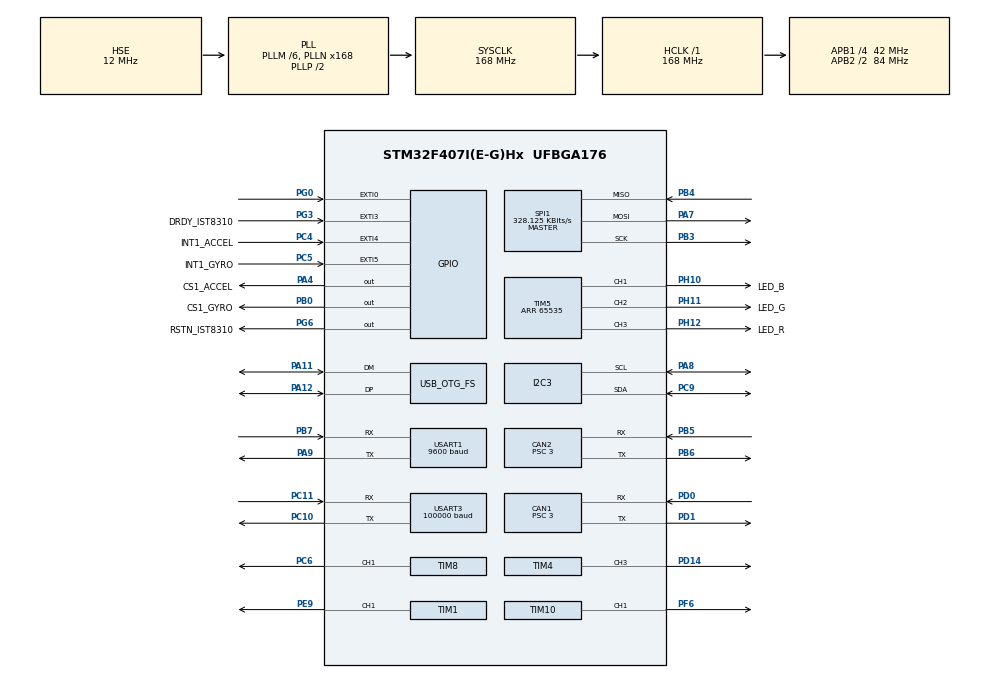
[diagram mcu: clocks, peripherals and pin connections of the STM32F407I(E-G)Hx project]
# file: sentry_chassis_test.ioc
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CAN1.BS1=CAN_BS1_10TQ
CAN1.BS2=CAN_BS2_3TQ
CAN1.CalculateBaudRate=1000000
CAN1.CalculateTimeBit=1000
CAN1.CalculateTimeQuantum=71.42857142857143
CAN1.Prescaler=3
CAN2.BS1=CAN_BS1_10TQ
CAN2.BS2=CAN_BS2_3TQ
CAN2.CalculateBaudRate=1000000
CAN2.CalculateTimeBit=1000
CAN2.CalculateTimeQuantum=71.42857142857143
CAN2.Prescaler=3
Dma.Request0=SPI1_RX
Dma.Request1=SPI1_TX
Dma.Request2=USART3_RX
Dma.SPI1_RX.0.Direction=DMA_PERIPH_TO_MEMORY
Dma.SPI1_RX.0.FIFOMode=DMA_FIFOMODE_DISABLE
Dma.SPI1_RX.0.Instance=DMA2_Stream0
Dma.SPI1_RX.0.MemDataAlignment=DMA_MDATAALIGN_BYTE
Dma.SPI1_RX.0.MemInc=DMA_MINC_ENABLE
Dma.SPI1_RX.0.Mode=DMA_NORMAL
Dma.SPI1_RX.0.PeriphDataAlignment=DMA_PDATAALIGN_BYTE
Dma.SPI1_RX.0.PeriphInc=DMA_PINC_DISABLE
Dma.SPI1_RX.0.Priority=DMA_PRIORITY_VERY_HIGH
Dma.SPI1_TX.1.Direction=DMA_MEMORY_TO_PERIPH
Dma.SPI1_TX.1.FIFOMode=DMA_FIFOMODE_DISABLE
Dma.SPI1_TX.1.Instance=DMA2_Stream3
Dma.SPI1_TX.1.MemDataAlignment=DMA_MDATAALIGN_BYTE
Dma.SPI1_TX.1.MemInc=DMA_MINC_ENABLE
Dma.SPI1_TX.1.Mode=DMA_NORMAL
Dma.SPI1_TX.1.PeriphDataAlignment=DMA_PDATAALIGN_BYTE
Dma.SPI1_TX.1.PeriphInc=DMA_PINC_DISABLE
Dma.SPI1_TX.1.Priority=DMA_PRIORITY_HIGH
Dma.USART3_RX.2.Direction=DMA_PERIPH_TO_MEMORY
Dma.USART3_RX.2.FIFOMode=DMA_FIFOMODE_DISABLE
Dma.USART3_RX.2.Instance=DMA1_Stream1
Dma.USART3_RX.2.MemDataAlignment=DMA_MDATAALIGN_BYTE
Dma.USART3_RX.2.MemInc=DMA_MINC_ENABLE
Dma.USART3_RX.2.Mode=DMA_NORMAL
Dma.USART3_RX.2.PeriphDataAlignment=DMA_PDATAALIGN_BYTE
Dma.USART3_RX.2.PeriphInc=DMA_PINC_DISABLE
Dma.USART3_RX.2.Priority=DMA_PRIORITY_HIGH
FREERTOS.INCLUDE_eTaskGetState=1
FREERTOS.INCLUDE_uxTaskGetStackHighWaterMark=1
FREERTOS.INCLUDE_vTaskDelayUntil=1
FREERTOS.INCLUDE_xQueueGetMutexHolder=1
FREERTOS.Tasks01=test,0,128,test_task,Default,NULL,Dynamic,NULL,NULL
FREERTOS.configTOTAL_HEAP_SIZE=24576
FREERTOS.configUSE_TIMERS=1
I2C3.I2C_Mode=I2C_Fast
Mcu.Family=STM32F4
Mcu.Name=STM32F407I(E-G)Hx
Mcu.Package=UFBGA176
NVIC.CAN1_RX0_IRQn=true\:5\:0\:false\:false\:true\:true\:true\:true\:true
NVIC.CAN1_RX1_IRQn=true\:5\:0\:false\:false\:true\:true\:true\:true\:true
NVIC.CAN1_TX_IRQn=true\:5\:0\:false\:false\:true\:true\:true\:true\:true
NVIC.CAN2_RX0_IRQn=true\:5\:0\:false\:false\:true\:true\:true\:true\:true
NVIC.CAN2_RX1_IRQn=true\:5\:0\:false\:false\:true\:true\:true\:true\:true
NVIC.CAN2_TX_IRQn=true\:5\:0\:false\:false\:true\:true\:true\:true\:true
NVIC.DMA1_Stream1_IRQn=true\:5\:0\:false\:false\:true\:true\:false\:true\:true
NVIC.DMA2_Stream0_IRQn=true\:5\:0\:false\:false\:true\:true\:false\:true\:true
NVIC.DMA2_Stream3_IRQn=true\:5\:0\:false\:false\:true\:true\:false\:true\:true
NVIC.OTG_FS_IRQn=true\:5\:0\:false\:false\:true\:true\:true\:true\:true
NVIC.PriorityGroup=NVIC_PRIORITYGROUP_4
NVIC.RCC_IRQn=true\:5\:0\:false\:false\:true\:true\:true\:false\:true
NVIC.USART1_IRQn=true\:5\:0\:false\:false\:true\:true\:true\:true\:true
NVIC.USART3_IRQn=true\:5\:0\:false\:false\:true\:true\:true\:true\:true
PA10.Signal=USB_OTG_FS_ID
PA11.Mode=Device_Only
PA11.Signal=USB_OTG_FS_DM
PA12.Mode=Device_Only
PA12.Signal=USB_OTG_FS_DP
PA13.Mode=Serial_Wire
PA13.Signal=SYS_JTMS-SWDIO
PA14.Mode=Serial_Wire
PA14.Signal=SYS_JTCK-SWCLK
PA4.GPIO_Label=CS1_ACCEL
PA4.GPIO_PuPd=GPIO_PULLUP
PA4.GPIO_Speed=GPIO_SPEED_FREQ_HIGH
PA4.PinState=GPIO_PIN_SET
PA4.Signal=GPIO_Output
PA7.GPIO_PuPd=GPIO_PULLUP
PA7.Mode=Full_Duplex_Master
PA7.Signal=SPI1_MOSI
PA8.GPIO_Pu=GPIO_PULLUP
PA8.Mode=I2C
PA8.Signal=I2C3_SCL
PA9.Mode=Asynchronous
PA9.Signal=USART1_TX
PB0.GPIO_Label=CS1_GYRO
PB0.GPIO_PuPd=GPIO_PULLUP
PB0.GPIO_Speed=GPIO_SPEED_FREQ_HIGH
PB0.Signal=GPIO_Output
PB3.GPIO_PuPd=GPIO_PULLUP
PB3.Mode=Full_Duplex_Master
PB3.Signal=SPI1_SCK
PB4.GPIO_PuPd=GPIO_PULLUP
PB4.Mode=Full_Duplex_Master
PB4.Signal=SPI1_MISO
PB5.GPIO_PuPd=GPIO_NOPULL
PB5.Mode=CAN_Activate
PB5.Signal=CAN2_RX
PB6.GPIO_PuPd=GPIO_NOPULL
PB6.Mode=CAN_Activate
PB6.Signal=CAN2_TX
PB7.Mode=Asynchronous
PB7.Signal=USART1_RX
PC10.Mode=Asynchronous
PC10.Signal=USART3_TX
PC11.Mode=Asynchronous
PC11.Signal=USART3_RX
PC4.GPIO_Label=INT1_ACCEL
PC4.GPIO_PuPd=GPIO_PULLUP
PC4.Signal=GPXTI4
PC5.GPIO_Label=INT1_GYRO
PC5.GPIO_PuPd=GPIO_PULLUP
PC5.Signal=GPXTI5
PC6.Signal=S_TIM8_CH1
PC9.GPIO_Pu=GPIO_PULLUP
PC9.Mode=I2C
PC9.Signal=I2C3_SDA
PD0.GPIO_PuPd=GPIO_NOPULL
PD0.Mode=CAN_Activate
PD0.Signal=CAN1_RX
PD1.GPIO_PuPd=GPIO_NOPULL
PD1.Mode=CAN_Activate
PD1.Signal=CAN1_TX
PD14.Signal=S_TIM4_CH3
PE9.Signal=S_TIM1_CH1
PF6.GPIO_PuPd=GPIO_PULLUP
PF6.GPIO_Speed=GPIO_SPEED_FREQ_HIGH
PF6.Signal=S_TIM10_CH1
PG0.GPIO_PuPd=GPIO_PULLUP
PG0.Signal=GPXTI0
PG3.GPIO_Label=DRDY_IST8310
PG3.GPIO_PuPd=GPIO_PULLUP
PG3.Signal=GPXTI3
PG6.GPIO_Label=RSTN_IST8310
PG6.GPIO_PuPd=GPIO_PULLUP
PG6.GPIO_Speed=GPIO_SPEED_FREQ_MEDIUM
PG6.PinState=GPIO_PIN_SET
PG6.Signal=GPIO_Output
PH0-OSC_IN.Mode=HSE-External-Oscillator
PH0-OSC_IN.Signal=RCC_OSC_IN
PH1-OSC_OUT.Mode=HSE-External-Oscillator
PH1-OSC_OUT.Signal=RCC_OSC_OUT
PH10.GPIO_Label=LED_B
PH10.GPIO_PuPd=GPIO_PULLUP
PH10.GPIO_Speed=GPIO_SPEED_FREQ_HIGH
PH10.Signal=S_TIM5_CH1
PH11.GPIO_Label=LED_G
PH11.GPIO_PuPd=GPIO_PULLUP
PH11.GPIO_Speed=GPIO_SPEED_FREQ_HIGH
PH11.Signal=S_TIM5_CH2
PH12.GPIO_Label=LED_R
PH12.GPIO_PuPd=GPIO_PULLUP
PH12.GPIO_Speed=GPIO_SPEED_FREQ_HIGH
PH12.Signal=S_TIM5_CH3
ProjectManager.HeapSize=0x2000
ProjectManager.StackSize=0x2000
ProjectManager.TargetToolchain=MDK-ARM V5
RCC.48MHZClocksFreq_Value=48000000
RCC.AHBFreq_Value=168000000
RCC.APB1CLKDivider=RCC_HCLK_DIV4
RCC.APB1Freq_Value=42000000
RCC.APB1TimFreq_Value=84000000
RCC.APB2CLKDivider=RCC_HCLK_DIV2
RCC.APB2Freq_Value=84000000
RCC.APB2TimFreq_Value=168000000
RCC.CortexFreq_Value=168000000
RCC.HCLKFreq_Value=168000000
RCC.HSE_VALUE=12000000
RCC.HSI_VALUE=16000000
RCC.LSE_VALUE=32768
RCC.PLLM=6
RCC.PLLN=168
RCC.PLLQ=7
RCC.PLLSourceVirtual=RCC_PLLSOURCE_HSE
RCC.SYSCLKFreq_VALUE=168000000
RCC.SYSCLKSource=RCC_SYSCLKSOURCE_PLLCLK
RCC.VCOOutputFreq_Value=336000000
SH.S_TIM10_CH1.0=TIM10_CH1,PWM Generation1 CH1
SH.S_TIM1_CH1.0=TIM1_CH1,PWM Generation1 CH1
SH.S_TIM4_CH3.0=TIM4_CH3,PWM Generation3 CH3
SH.S_TIM5_CH1.0=TIM5_CH1,PWM Generation1 CH1
SH.S_TIM5_CH2.0=TIM5_CH2,PWM Generation2 CH2
SH.S_TIM5_CH3.0=TIM5_CH3,PWM Generation3 CH3
SH.S_TIM8_CH1.0=TIM8_CH1,PWM Generation1 CH1
SPI1.BaudRatePrescaler=SPI_BAUDRATEPRESCALER_256
SPI1.CLKPhase=SPI_PHASE_2EDGE
SPI1.CLKPolarity=SPI_POLARITY_HIGH
SPI1.CalculateBaudRate=328.125 KBits/s
SPI1.Direction=SPI_DIRECTION_2LINES
SPI1.Mode=SPI_MODE_MASTER
SPI1.VirtualType=VM_MASTER
STMicroelectronics.X-CUBE-ALGOBUILD.1.3.0.LibraryCcDSPOoLibraryJjDSPOoLibrary=true
TIM1.Channel-PWM\ Generation1\ CH1=TIM_CHANNEL_1
TIM1.Period=10000-1
TIM1.Prescaler=16800-1
TIM10.Channel=TIM_CHANNEL_1
TIM10.Period=4999
TIM2.Prescaler=83
TIM4.Channel-PWM\ Generation3\ CH3=TIM_CHANNEL_3
TIM4.Period=20999
TIM5.Channel-PWM\ Generation1\ CH1=TIM_CHANNEL_1
TIM5.Channel-PWM\ Generation2\ CH2=TIM_CHANNEL_2
TIM5.Channel-PWM\ Generation3\ CH3=TIM_CHANNEL_3
TIM5.Period=65535
TIM8.Channel-PWM\ Generation1\ CH1=TIM_CHANNEL_1
TIM8.Period=1000-1
TIM8.Prescaler=16800-1
USART1.BaudRate=9600
USART1.VirtualMode=VM_ASYNC
USART3.BaudRate=100000
USART3.VirtualMode=VM_ASYNC
USB_OTG_FS.VirtualMode=Device_Only
VP_FREERTOS_VS_CMSIS_V1.Mode=CMSIS_V1
VP_STMicroelectronics.X-CUBE-ALGOBUILD_VS_DSPOoLibraryJjLibrary_1.3.0_1.3.0.Mode=DSPOoLibraryJjLibrary
VP_TIM10_VS_ClockSourceINT.Mode=Enable_Timer
VP_TIM1_VS_ClockSourceINT.Mode=Internal
VP_TIM2_VS_ClockSourceINT.Mode=Internal
VP_TIM4_VS_ClockSourceINT.Mode=Internal
VP_TIM5_VS_ClockSourceINT.Mode=Internal
VP_TIM8_VS_ClockSourceINT.Mode=Internal
board=custom

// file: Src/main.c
/* USER CODE BEGIN Header */
/**
  ******************************************************************************
  * @file           : main.c
  * @brief          : Main program body
  ******************************************************************************
  * @attention
  *
  * Copyright (c) 2024 STMicroelectronics.
  * All rights reserved.
  *
  * This software is licensed under terms that can be found in the LICENSE file
  * in the root directory of this software component.
  * If no LICENSE file comes with this software, it is provided AS-IS.
  *
  ******************************************************************************
  */
/* USER CODE END Header */
#include "main.h"

void SystemClock_Config(void);
void MX_FREERTOS_Init(void);

/* USER CODE BEGIN 0 */
void Robot_Init(void)
{
  // imu init
  while (BMI088_init(&hspi1, Offline_Use) != BMI088_NO_ERROR)
  {
  }
  remote_control_init();
  initRemoteControl(DJI_REMOTE_CONTROL);

  Motor_Config_Init();
}

void Bsp_Init(void)
{
	/* MCU Configuration--------------------------------------------------------*/

  /* Reset of all peripherals, Initializes the Flash interface and the Systick. */
  HAL_Init();

  /* USER CODE BEGIN Init */

  /* USER CODE END Init */

  /* Configure the system clock */
  SystemClock_Config();

  /* USER CODE BEGIN SysInit */

  /* USER CODE END SysInit */

  /* Initialize all configured peripherals */
  MX_GPIO_Init();
  MX_DMA_Init();
	MX_SPI1_Init();
	MX_TIM5_Init();
	MX_I2C3_Init();
  MX_CAN1_Init();
  MX_TIM2_Init();
  MX_TIM10_Init();
  MX_CAN2_Init();
  MX_USART3_UART_Init();
	MX_TIM1_Init();
  MX_TIM8_Init();
  MX_USART1_UART_Init();

  MX_USB_DEVICE_Init();
	DWT_Init(168);

	can_filter_init();

  MX_TIM4_Init();
	//�?启定时器
    HAL_TIM_Base_Start(&htim4);
	//�?启PWM通道
   HAL_TIM_PWM_Start(&htim4, TIM_CHANNEL_3);
	 HAL_TIM_PWM_Start(&htim1, TIM_CHANNEL_1);
	 HAL_TIM_PWM_Start(&htim8, TIM_CHANNEL_1);
	 __HAL_TIM_SetCompare(&htim1, TIM_CHANNEL_1, 10000/2);
	 __HAL_TIM_SetCompare(&htim8, TIM_CHANNEL_1, 1000/2);

}
/* USER CODE END 0 */

int main(void)
{

  /* USER CODE BEGIN 1 */
	Bsp_Init();
  Robot_Init();
  /* USER CODE END 1 */

  /* MCU Configuration--------------------------------------------------------*/

  /* Reset of all peripherals, Initializes the Flash interface and the Systick. */
  HAL_Init();

  /* Configure the system clock */
  SystemClock_Config();

  /* Call init function for freertos objects (in cmsis_os2.c) */
  MX_FREERTOS_Init();

  /* Start scheduler */
  osKernelStart();

  /* We should never get here as control is now taken by the scheduler */

  /* Infinite loop */
  while (1)
  {

  }
}

void SystemClock_Config(void)
{
  RCC_OscInitTypeDef RCC_OscInitStruct = {0};
  RCC_ClkInitTypeDef RCC_ClkInitStruct = {0};

  /** Configure the main internal regulator output voltage
  */
  __HAL_RCC_PWR_CLK_ENABLE();
  __HAL_PWR_VOLTAGESCALING_CONFIG(PWR_REGULATOR_VOLTAGE_SCALE1);

  /** Initializes the RCC Oscillators according to the specified parameters
  * in the RCC_OscInitTypeDef structure.
  */
  RCC_OscInitStruct.OscillatorType = RCC_OSCILLATORTYPE_HSE;
  RCC_OscInitStruct.HSEState = RCC_HSE_ON;
  RCC_OscInitStruct.PLL.PLLState = RCC_PLL_ON;
  RCC_OscInitStruct.PLL.PLLSource = RCC_PLLSOURCE_HSE;
  RCC_OscInitStruct.PLL.PLLM = 6;
  RCC_OscInitStruct.PLL.PLLN = 168;
  RCC_OscInitStruct.PLL.PLLP = RCC_PLLP_DIV2;
  RCC_OscInitStruct.PLL.PLLQ = 7;
  if (HAL_RCC_OscConfig(&RCC_OscInitStruct) != HAL_OK)
  {
    Error_Handler();
  }

  /** Initializes the CPU, AHB and APB buses clocks
  */
  RCC_ClkInitStruct.ClockType = RCC_CLOCKTYPE_HCLK|RCC_CLOCKTYPE_SYSCLK
                              |RCC_CLOCKTYPE_PCLK1|RCC_CLOCKTYPE_PCLK2;
  RCC_ClkInitStruct.SYSCLKSource = RCC_SYSCLKSOURCE_PLLCLK;
  RCC_ClkInitStruct.AHBCLKDivider = RCC_SYSCLK_DIV1;
  RCC_ClkInitStruct.APB1CLKDivider = RCC_HCLK_DIV4;
  RCC_ClkInitStruct.APB2CLKDivider = RCC_HCLK_DIV2;

  if (HAL_RCC_ClockConfig(&RCC_ClkInitStruct, FLASH_LATENCY_5) != HAL_OK)
  {
    Error_Handler();
  }
}

void Error_Handler(void)
{
  __disable_irq();
  while (1)
  {
  }
}

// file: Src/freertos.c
/* USER CODE BEGIN Header */
/**
  ******************************************************************************
  * File Name          : freertos.c
  * Description        : Code for freertos applications
  ******************************************************************************
  * @attention
  *
  * Copyright (c) 2024 STMicroelectronics.
  * All rights reserved.
  *
  * This software is licensed under terms that can be found in the LICENSE file
  * in the root directory of this software component.
  * If no LICENSE file comes with this software, it is provided AS-IS.
  *
  ******************************************************************************
  */
/* USER CODE END Header */

#include "FreeRTOS.h"
#include "task.h"
#include "main.h"
#include "cmsis_os.h"

/* USER CODE BEGIN Includes */
#include "led_flow_task.h"
#include "ins_task.h"
#include "ActionTask.h"
#include "BlueToothTask.h"
#include "ChassisTask.h"
#include "CPU_Task.h"
#include "GimbalTask.h"
// #include "iwdgTask.h"
#include "Offline_Task.h"
// #include "SDCardTask.h"
#include "Test_Task.h"
#include "ShootTask.h"
#include "TimeStampTask.h"
/* USER CODE END Includes */

/* USER CODE BEGIN Variables */
osThreadId INSTaskHandle;
osThreadId ActionTaskHandle;
osThreadId OfflineTaskHandle;
osThreadId GimbalTaskHandle;
osThreadId BlueToothTaskHandle;
osThreadId ChassisTaskHandle;
osThreadId CPUTaskHandle;
osThreadId iwdgTaskHandle;
osThreadId TestTaskHandle;
osThreadId ShootTaskHandle;
osThreadId TimeStampTaskHandle;
/* USER CODE END Variables */
osThreadId testHandle;

void test_task(void const * argument);

void MX_FREERTOS_Init(void); /* (MISRA C 2004 rule 8.1) */

/* GetIdleTaskMemory prototype (linked to static allocation support) */
void vApplicationGetIdleTaskMemory( StaticTask_t **ppxIdleTaskTCBBuffer, StackType_t **ppxIdleTaskStackBuffer, uint32_t *pulIdleTaskStackSize );

/* GetTimerTaskMemory prototype (linked to static allocation support) */
void vApplicationGetTimerTaskMemory( StaticTask_t **ppxTimerTaskTCBBuffer, StackType_t **ppxTimerTaskStackBuffer, uint32_t *pulTimerTaskStackSize );

/* USER CODE BEGIN GET_IDLE_TASK_MEMORY */
static StaticTask_t xIdleTaskTCBBuffer;
static StackType_t xIdleStack[configMINIMAL_STACK_SIZE];

void vApplicationGetIdleTaskMemory( StaticTask_t **ppxIdleTaskTCBBuffer, StackType_t **ppxIdleTaskStackBuffer, uint32_t *pulIdleTaskStackSize )
{
  *ppxIdleTaskTCBBuffer = &xIdleTaskTCBBuffer;
  *ppxIdleTaskStackBuffer = &xIdleStack[0];
  *pulIdleTaskStackSize = configMINIMAL_STACK_SIZE;
  /* place for user code */
}
/* USER CODE END GET_IDLE_TASK_MEMORY */

/* USER CODE BEGIN GET_TIMER_TASK_MEMORY */
static StaticTask_t xTimerTaskTCBBuffer;
static StackType_t xTimerStack[configTIMER_TASK_STACK_DEPTH];

void vApplicationGetTimerTaskMemory( StaticTask_t **ppxTimerTaskTCBBuffer, StackType_t **ppxTimerTaskStackBuffer, uint32_t *pulTimerTaskStackSize )
{
  *ppxTimerTaskTCBBuffer = &xTimerTaskTCBBuffer;
  *ppxTimerTaskStackBuffer = &xTimerStack[0];
  *pulTimerTaskStackSize = configTIMER_TASK_STACK_DEPTH;
  /* place for user code */
}
/* USER CODE END GET_TIMER_TASK_MEMORY */

void MX_FREERTOS_Init(void) {

  /* Create the thread(s) */
  /* definition and creation of test */
  // osThreadDef(test, test_task, osPriorityNormal, 0, 128);
  // testHandle = osThreadCreate(osThread(test), NULL);

  /* USER CODE BEGIN RTOS_THREADS */
  /* add threads, ... */
	// INS Task
  osThreadDef(INSTask_, INS_task, osPriorityRealtime, 0, 512);
  INSTaskHandle = osThreadCreate(osThread(INSTask_), NULL);
  osThreadDef(TimeStampTask_, TimeStampTask, osPriorityRealtime, 0, 512);
  TimeStampTaskHandle = osThreadCreate(osThread(TimeStampTask_), NULL);

  // // Action Task
  // osThreadDef(ActionTask_, ActionTask, osPriorityRealtime, 0, 256);
  // ActionTaskHandle = osThreadCreate(osThread(ActionTask_), NULL);

  // // Gimbal Task
  // osThreadDef(GimbalTask_, GimbalTask, osPriorityRealtime, 0, 256);
  // GimbalTaskHandle = osThreadCreate(osThread(GimbalTask_), NULL);

  // // Offline Task
  // osThreadDef(Offline_task_, Offline_task, osPriorityRealtime, 0, 128);
  // OfflineTaskHandle = osThreadCreate(osThread(Offline_task_), NULL);

  // // Chassis Task
  // osThreadDef(ChassisTask_, ChassisTask, osPriorityRealtime, 0, 512);
  // ChassisTaskHandle = osThreadCreate(osThread(ChassisTask_), NULL);
  // // Shoot Task
  // osThreadDef(ShootTask_, ShootTask, osPriorityRealtime, 0, 256);
  // ShootTaskHandle = osThreadCreate(osThread(ShootTask_), NULL);
  /* USER CODE END RTOS_THREADS */

}

void test_task(void const * argument)
{
  for(;;)
  {
    osDelay(1);
  }
}
